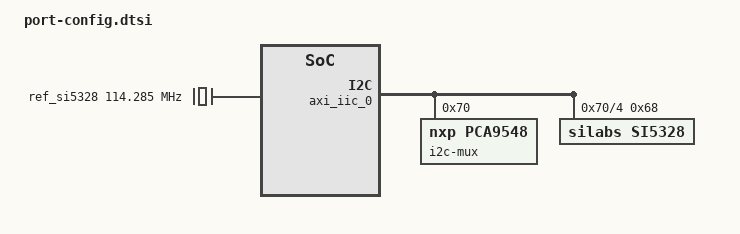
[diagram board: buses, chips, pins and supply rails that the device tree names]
/ {
	ref_si5328: ref_si5328 {
	    compatible = "fixed-clock";
	    #clock-cells = <0>;
	    clock-frequency = <114285000>;
	};
};

/* Quad SFP28 FMC PL I2C */
&axi_iic_0 {
        i2c-mux@70 {
                compatible = "nxp,pca9548";
                #address-cells = <1>;
                #size-cells = <0>;
                reg = <0x70>;
                i2c@4 {
                        #address-cells = <1>;
                        #size-cells = <0>;
                        reg = <4>;
                        si5328: clock-generator@68 {
                                status = "okay";
                                compatible = "silabs,si5328";
                                reg = <0x68>;
                                #address-cells = <1>;
                                #size-cells = <0>;
                                #clock-cells = <1>;
                                clocks = <&ref_si5328>;
                                clock-names = "xtal";

                                si5328_clk: clk0@0 {
                                        reg = <0>;
                                        clock-frequency = <156250000>;
                                };
                        };
                };
        };
};
